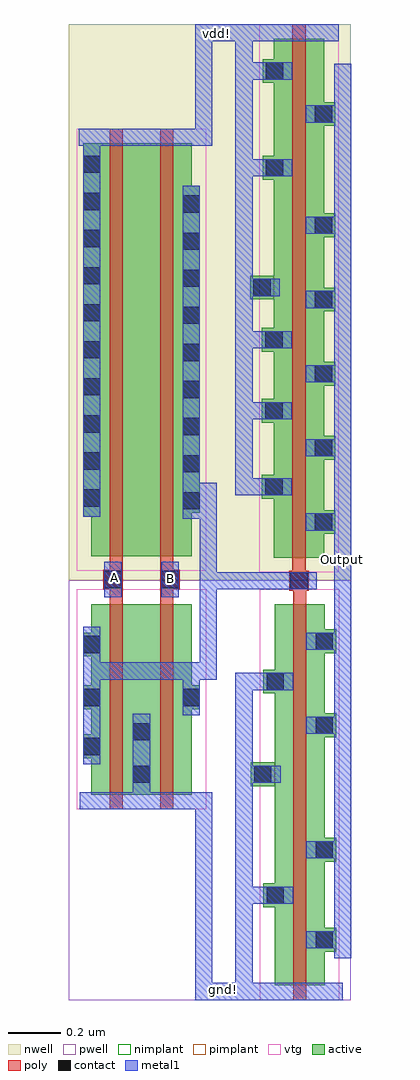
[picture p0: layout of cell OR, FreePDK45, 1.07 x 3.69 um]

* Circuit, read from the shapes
.subckt OR A B Output gnd! vdd!
M1 gnd! A Inverter_1/In gnd! nfet w=0.72u l=0.05u
M2 Inverter_1/In B gnd! gnd! nfet w=0.72u l=0.05u
M3 Output Inverter_1/In gnd! gnd! nfet w=1.44u l=0.05u
M4 n1 A vdd! vdd! pfet w=1.56u l=0.05u
M5 Inverter_1/In B n1 vdd! pfet w=1.56u l=0.05u
M6 Output Inverter_1/In vdd! vdd! pfet w=1.96u l=0.05u
.ends

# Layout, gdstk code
from math import pi, radians
import gdstk
lib = gdstk.Library(unit=1e-6, precision=5e-10)
def R(c, l, rs):  # rectangles x0, y0, x1, y1
    for r in rs: c.add(gdstk.rectangle(r[:2], r[2:], *l))
def A(c, l, x, y, w, h, nx, ny, dx, dy):  # array of equal rectangles
    R(c, l, [(x+i*dx, y+j*dy, x+i*dx+w, y+j*dy+h) for i in range(nx) for j in range(ny)])
active = (1, 0)
pwell = (2, 0)
nwell = (3, 0)
nimplant = (4, 0)
pimplant = (5, 0)
vtg = (6, 0)
poly = (9, 0)
contact = (10, 0)
metal1 = (11, 0)

pmos_vtg_0 = lib.new_cell('pmos_vtg_0')
R(pmos_vtg_0, active, [(-0.07,0,0.31,1.56), (-0.07,0,0,1.56), (0.0475,0,0.1875,1.56), (0.24,0,0.31,1.56)])
R(pmos_vtg_0, nwell, [(-0.125,-0.055,0.365,1.615)])
R(pmos_vtg_0, pimplant, [(-0.07,0,0.31,1.56)])
R(pmos_vtg_0, vtg, [(-0.125,-0.055,0.365,1.615)])
R(pmos_vtg_0, poly, [(0,-0.055,0.05,0), (0,-0.055,0.05,1.615), (0.19,-0.055,0.24,0), (0.19,-0.055,0.24,1.615), (0,1.56,0.05,1.615), (0.19,1.56,0.24,1.615)])
pmos_vtg_0.add(gdstk.Label('l = 0.05', (0.25,0.78), layer=230, texttype=0))
pmos_vtg_0.add(gdstk.Label('w = 1.56', (0.215,1.625), layer=230, texttype=0))
pmos_vtg_0.add(gdstk.Label('l = 0.05', (0.06,0.78), layer=230, texttype=0))
pmos_vtg_0.add(gdstk.Label('w = 1.56', (0.025,1.625), layer=230, texttype=0))

nmos_vtg_1 = lib.new_cell('nmos_vtg_1')
R(nmos_vtg_1, active, [(-0.07,0,0.31,0.72), (-0.07,0,0,0.72), (0.0475,0,0.1875,0.72), (0.24,0,0.31,0.72)])
R(nmos_vtg_1, pwell, [(-0.125,-0.055,0.365,0.775)])
R(nmos_vtg_1, nimplant, [(-0.07,0,0.31,0.72)])
R(nmos_vtg_1, vtg, [(-0.125,-0.055,0.365,0.775)])
R(nmos_vtg_1, poly, [(0,-0.055,0.05,0), (0,-0.055,0.05,0.775), (0.19,-0.055,0.24,0), (0.19,-0.055,0.24,0.775), (0,0.72,0.05,0.775), (0.19,0.72,0.24,0.775)])
nmos_vtg_1.add(gdstk.Label('l = 0.05', (0.25,0.36), layer=230, texttype=0))
nmos_vtg_1.add(gdstk.Label('w = 0.72', (0.215,0.785), layer=230, texttype=0))
nmos_vtg_1.add(gdstk.Label('l = 0.05', (0.06,0.36), layer=230, texttype=0))
nmos_vtg_1.add(gdstk.Label('w = 0.72', (0.025,0.785), layer=230, texttype=0))

m1_n_0 = lib.new_cell('M1_N_0')
R(m1_n_0, active, [(-0.045,-0.045,0.045,0.045)])
R(m1_n_0, nimplant, [(-0.045,-0.045,0.045,0.045)])
R(m1_n_0, contact, [(-0.0325,-0.0325,0.0325,0.0325)])
R(m1_n_0, metal1, [(-0.0325,-0.0675,0.0325,0.0675)])

m1_poly_1 = lib.new_cell('M1_POLY_1')
R(m1_poly_1, poly, [(-0.0375,-0.0375,0.0375,0.0375)])
R(m1_poly_1, contact, [(-0.0325,-0.0325,0.0325,0.0325)])
R(m1_poly_1, metal1, [(-0.0325,-0.0675,0.0325,0.0675)])

nor = lib.new_cell('NOR')
A(nor, active, 1.7525, 1.3225, 0.0775, 0.14, 1, 9, 0, 0.14)
A(nor, active, 2.115, 1.4525, 0.0775, 0.14, 1, 8, 0, 0.14)
R(nor, active, [(1.7525,0.41,1.8175,0.5), (1.7525,0.595,1.8175,0.685), (2.115,0.595,2.1925,0.685), (1.7525,0.795,1.8175,0.885), (2.115,1.3375,2.1925,1.4525), (1.7525,2.5825,1.83,2.7325)])
R(nor, pwell, [(1.6975,0.2175,1.7275,1.0825), (2.2175,0.2175,2.2475,1.0825), (1.7275,1.0475,2.2175,1.0825)])
R(nor, nwell, [(1.6975,1.0825,1.7275,2.7875), (1.7275,1.0825,2.2175,1.1175), (2.2175,1.0825,2.2475,2.7875)])
R(nor, nimplant, [(1.7525,0.41,1.8175,0.5), (1.7525,0.595,1.8175,0.685), (2.115,0.595,2.1925,0.685), (1.7525,0.795,1.8175,0.885)])
A(nor, pimplant, 1.7525, 1.3225, 0.0775, 0.14, 1, 9, 0, 0.14)
A(nor, pimplant, 2.115, 1.4525, 0.0775, 0.14, 1, 8, 0, 0.14)
R(nor, pimplant, [(2.115,1.3375,2.1925,1.4525), (1.7525,2.5825,1.83,2.7325)])
A(nor, contact, 2.1275, 1.35, 0.065, 0.065, 1, 9, 0, 0.14)
A(nor, contact, 1.7525, 1.36, 0.065, 0.065, 1, 10, 0, 0.14)
R(nor, contact, [(1.7525,0.4225,1.8175,0.4875), (1.7525,0.6075,1.8175,0.6725), (2.1275,0.6075,2.1925,0.6725), (1.7525,0.8075,1.8175,0.8725)])
A(nor, metal1, 1.7525, 1.3225, 0.065, 0.14, 1, 10, 0, 0.14)
A(nor, metal1, 2.1275, 1.4525, 0.065, 0.14, 1, 8, 0, 0.14)
R(nor, metal1, [(2.02,0.2175,2.24,0.2825), (2.1275,0.5725,2.1925,0.7075), (1.7525,0.7075,2.1925,0.7725), (2.1925,0.7075,2.2575,1.45), (2.1275,1.315,2.1925,1.4525), (1.735,2.7225,2.21,2.7875), (2.0025,2.7225,2.24,2.7875)])
nor.add(gdstk.FlexPath([(1.9725,0.4175),(1.9725,0.5),(1.94,0.5)], 0.065, ends="flush", simple_path=True, layer=11, datatype=0))  # metal1
nor.add(gdstk.FlexPath([(1.785,0.5725),(1.785,0.5225)], 0.065, ends="flush", simple_path=True, layer=11, datatype=0))  # metal1
nor.add(gdstk.FlexPath([(1.785,0.5225),(1.785,0.3875)], 0.065, ends="flush", simple_path=True, layer=11, datatype=0))  # metal1
nor.add(gdstk.FlexPath([(1.785,0.9075),(1.785,0.7725)], 0.065, ends="flush", simple_path=True, layer=11, datatype=0))  # metal1
nor.add(gdstk.FlexPath([(1.785,0.7075),(1.785,0.5725)], 0.065, ends="flush", simple_path=True, layer=11, datatype=0))  # metal1
nor.add(gdstk.FlexPath([(1.74,0.25),(2.21,0.25)], 0.065, ends="flush", simple_path=True, layer=11, datatype=0))  # metal1
nor.add(gdstk.Reference(pmos_vtg_0, (1.8525,1.1725)))
nor.add(gdstk.Reference(nmos_vtg_1, (1.8525,0.2725)))
nor.add(gdstk.Reference(m1_n_0, (1.9725,0.51)))
nor.add(gdstk.Reference(m1_n_0, (1.9725,0.35)))
nor.add(gdstk.Reference(m1_poly_1, (1.865,1.085), rotation=pi))
nor.add(gdstk.Reference(m1_poly_1, (2.08,1.085), rotation=pi))
nor.add(gdstk.Label('gnd!', (1.975,0.255), layer=11, texttype=0))
nor.add(gdstk.Label('vdd!', (1.9725,2.7625), layer=11, texttype=0))
nor.add(gdstk.Label('A', (1.87,1.0925), layer=11, texttype=0))
nor.add(gdstk.Label('B', (2.0825,1.0875), layer=11, texttype=0))
nor.add(gdstk.Label('Output', (2.235,1.0875), layer=11, texttype=0))

nmos_vtg_2 = lib.new_cell('nmos_vtg_2')
R(nmos_vtg_2, active, [(-0.07,0,0.12,1.44), (-0.07,0,0,1.44), (0.05,0,0.12,1.44)])
R(nmos_vtg_2, pwell, [(-0.125,-0.055,0.175,1.495)])
R(nmos_vtg_2, nimplant, [(-0.07,0,0.12,1.44)])
R(nmos_vtg_2, vtg, [(-0.125,-0.055,0.175,1.495)])
R(nmos_vtg_2, poly, [(0,-0.055,0.05,0), (0,-0.055,0.05,1.495), (0,1.44,0.05,1.495)])
nmos_vtg_2.add(gdstk.Label('l = 0.05', (0.06,0.72), layer=230, texttype=0))
nmos_vtg_2.add(gdstk.Label('w = 1.44', (0.025,1.505), layer=230, texttype=0))

pmos_vtg_3 = lib.new_cell('pmos_vtg_3')
R(pmos_vtg_3, active, [(-0.07,0,0.12,1.96), (-0.07,0,0,1.96), (0.05,0,0.12,1.96)])
R(pmos_vtg_3, nwell, [(-0.125,-0.055,0.175,2.015)])
R(pmos_vtg_3, pimplant, [(-0.07,0,0.12,1.96)])
R(pmos_vtg_3, vtg, [(-0.125,-0.055,0.175,2.015)])
R(pmos_vtg_3, poly, [(0,-0.055,0.05,0), (0,-0.055,0.05,2.015), (0,1.96,0.05,2.015)])
pmos_vtg_3.add(gdstk.Label('l = 0.05', (0.06,0.98), layer=230, texttype=0))
pmos_vtg_3.add(gdstk.Label('w = 1.96', (0.025,2.025), layer=230, texttype=0))

m1_p_2 = lib.new_cell('M1_P_2')
R(m1_p_2, active, [(-0.045,-0.045,0.045,0.045)])
R(m1_p_2, pimplant, [(-0.045,-0.045,0.045,0.045)])
R(m1_p_2, contact, [(-0.0325,-0.0325,0.0325,0.0325)])
R(m1_p_2, metal1, [(-0.0325,-0.0675,0.0325,0.0675)])

ntap_3 = lib.new_cell('NTAP_3')
R(ntap_3, active, [(-0.045,-0.045,0.045,0.045)])
R(ntap_3, nwell, [(-0.1,-0.1,0.1,0.1)])
R(ntap_3, nimplant, [(-0.045,-0.045,0.045,0.045)])
R(ntap_3, contact, [(-0.0325,-0.0325,0.0325,0.0325)])
R(ntap_3, metal1, [(-0.0325,-0.0675,0.0325,0.0675)])

ptap_4 = lib.new_cell('PTAP_4')
R(ptap_4, active, [(-0.045,-0.045,0.045,0.045)])
R(ptap_4, pwell, [(-0.1,-0.1,0.1,0.1)])
R(ptap_4, pimplant, [(-0.045,-0.045,0.045,0.045)])
R(ptap_4, contact, [(-0.0325,-0.0325,0.0325,0.0325)])
R(ptap_4, metal1, [(-0.0325,-0.0675,0.0325,0.0675)])

inverter = lib.new_cell('Inverter')
R(inverter, pwell, [(0.805,0,0.8975,0.6575), (1.195,0,1.24,1.55), (0.805,0.6575,0.8975,1.585), (0.895,1.55,1.24,1.585)])
R(inverter, nwell, [(0.805,1.585,1.005,2.59), (0.895,1.585,1.24,1.615), (1.195,1.615,1.24,3.685), (0.805,2.79,0.895,3.685)])
R(inverter, metal1, [(0.87,3.475,0.885,3.54)])
inverter.add(gdstk.FlexPath([(0.805,2.4925),(1.01,2.4925)], 0.065, ends="flush", simple_path=True, layer=11, datatype=0))  # metal1
inverter.add(gdstk.FlexPath([(0.805,1.2025),(1.02,1.2025)], 0.065, ends="flush", simple_path=True, layer=11, datatype=0))  # metal1
inverter.add(gdstk.FlexPath([(0.8375,0.0325),(1.21,0.0325)], 0.065, ends="flush", simple_path=True, layer=11, datatype=0))  # metal1
inverter.add(gdstk.FlexPath([(0.8875,0.395),(0.805,0.395)], 0.065, ends="flush", simple_path=True, layer=11, datatype=0))  # metal1
inverter.add(gdstk.FlexPath([(0.8375,1.235),(0.8375,0)], 0.065, ends="flush", simple_path=True, layer=11, datatype=0))  # metal1
inverter.add(gdstk.FlexPath([(1.195,3.6525),(0.8325,3.6525)], 0.065, ends="flush", simple_path=True, layer=11, datatype=0))  # metal1
inverter.add(gdstk.FlexPath([(0.885,3.1425),(0.805,3.1425)], 0.065, ends="flush", simple_path=True, layer=11, datatype=0))  # metal1
inverter.add(gdstk.FlexPath([(0.8375,3.685),(0.8375,2.6575)], 0.065, ends="flush", simple_path=True, layer=11, datatype=0))  # metal1
inverter.add(gdstk.FlexPath([(1.21,3.535),(1.21,0.1575)], 0.065, ends="flush", simple_path=True, layer=11, datatype=0))  # metal1
inverter.add(gdstk.FlexPath([(0.8375,2.6575),(0.8375,1.905)], 0.065, ends="flush", simple_path=True, layer=11, datatype=0))  # metal1
inverter.add(gdstk.FlexPath([(0.805,2.225),(0.9775,2.225)], 0.065, ends="flush", simple_path=True, layer=11, datatype=0))  # metal1
inverter.add(gdstk.FlexPath([(0.805,1.9375),(0.985,1.9375)], 0.065, ends="flush", simple_path=True, layer=11, datatype=0))  # metal1
inverter.add(gdstk.Reference(nmos_vtg_2, (1.0225,0.055)))
inverter.add(gdstk.Reference(pmos_vtg_3, (1.02,1.67)))
inverter.add(gdstk.Reference(m1_poly_1, (1.045,1.5825), rotation=pi/2))
inverter.add(gdstk.Reference(m1_p_2, (0.9525,3.5075), rotation=pi/2))
inverter.add(gdstk.Reference(m1_p_2, (1.1375,3.345), rotation=pi/2))
inverter.add(gdstk.Reference(m1_p_2, (0.95,1.9375), rotation=pi/2))
inverter.add(gdstk.Reference(m1_p_2, (1.1375,2.925), rotation=pi/2))
inverter.add(gdstk.Reference(m1_p_2, (1.1375,2.645), rotation=pi/2))
inverter.add(gdstk.Reference(m1_p_2, (1.1375,1.805), rotation=pi/2))
inverter.add(gdstk.Reference(m1_p_2, (0.95,2.4925), rotation=pi/2))
inverter.add(gdstk.Reference(m1_p_2, (1.1375,2.365), rotation=pi/2))
inverter.add(gdstk.Reference(m1_p_2, (1.1375,2.085), rotation=pi/2))
inverter.add(gdstk.Reference(m1_p_2, (0.95,2.225), rotation=pi/2))
inverter.add(gdstk.Reference(m1_p_2, (0.9525,3.1425), rotation=pi/2))
inverter.add(gdstk.Reference(m1_n_0, (1.14,0.2275), rotation=pi/2))
inverter.add(gdstk.Reference(m1_n_0, (1.14,0.5675), rotation=pi/2))
inverter.add(gdstk.Reference(m1_n_0, (0.955,1.2025), rotation=pi/2))
inverter.add(gdstk.Reference(m1_n_0, (1.14,1.355), rotation=pi/2))
inverter.add(gdstk.Reference(m1_n_0, (0.955,0.395), rotation=pi/2))
inverter.add(gdstk.Reference(m1_n_0, (1.14,1.0375), rotation=pi/2))
inverter.add(gdstk.Reference(ntap_3, (0.905,2.69), rotation=pi/2))
inverter.add(gdstk.Reference(ptap_4, (0.9075,0.8525), rotation=pi/2))
inverter.add(gdstk.Label('Out', (1.2125,1.5875), layer=11, texttype=0))
inverter.add(gdstk.Label('gnd!', (0.91,0.8675), layer=11, texttype=0))
inverter.add(gdstk.Label('vdd!', (0.9125,2.6925), layer=11, texttype=0))
inverter.add(gdstk.Label('In', (1.045,1.5825), layer=11, texttype=0))

c_or = lib.new_cell('OR')
R(c_or, pwell, [(-0.5625,-1.585,0.5025,0)])
R(c_or, nwell, [(-0.5625,0,0.5025,2.1)])
c_or.add(gdstk.FlexPath([(-0.0525,-0.8325),(-0.0525,-1.585)], 0.065, ends="flush", simple_path=True, layer=11, datatype=0))  # metal1
c_or.add(gdstk.FlexPath([(0.1225,-1.5525),(-0.0525,-1.5525)], 0.065, ends="flush", simple_path=True, layer=11, datatype=0))  # metal1
c_or.add(gdstk.FlexPath([(-0.0525,1.665),(-0.0525,2.1)], 0.065, ends="flush", simple_path=True, layer=11, datatype=0))  # metal1
c_or.add(gdstk.FlexPath([(0.1075,2.0675),(-0.0475,2.0675)], 0.065, ends="flush", simple_path=True, layer=11, datatype=0))  # metal1
c_or.add(gdstk.FlexPath([(0.3075,-0.0025),(-0.0675,-0.0025)], 0.065, ends="flush", simple_path=True, layer=11, datatype=0))  # metal1
c_or.add(gdstk.Reference(nor, (-2.26,-1.0825)))
c_or.add(gdstk.Reference(inverter, (-0.7375,-1.585)))
c_or.add(gdstk.Label('Output', (0.47,0.0775), layer=11, texttype=0))
c_or.add(gdstk.Label('gnd!', (0.0225,-1.545), layer=11, texttype=0))
c_or.add(gdstk.Label('vdd!', (-0.0025,2.0625), layer=11, texttype=0))
c_or.add(gdstk.Label('B', (-0.1775,0.005), layer=11, texttype=0))
c_or.add(gdstk.Label('A', (-0.39,0.01), layer=11, texttype=0))

lib.write_gds('OR.gds')
